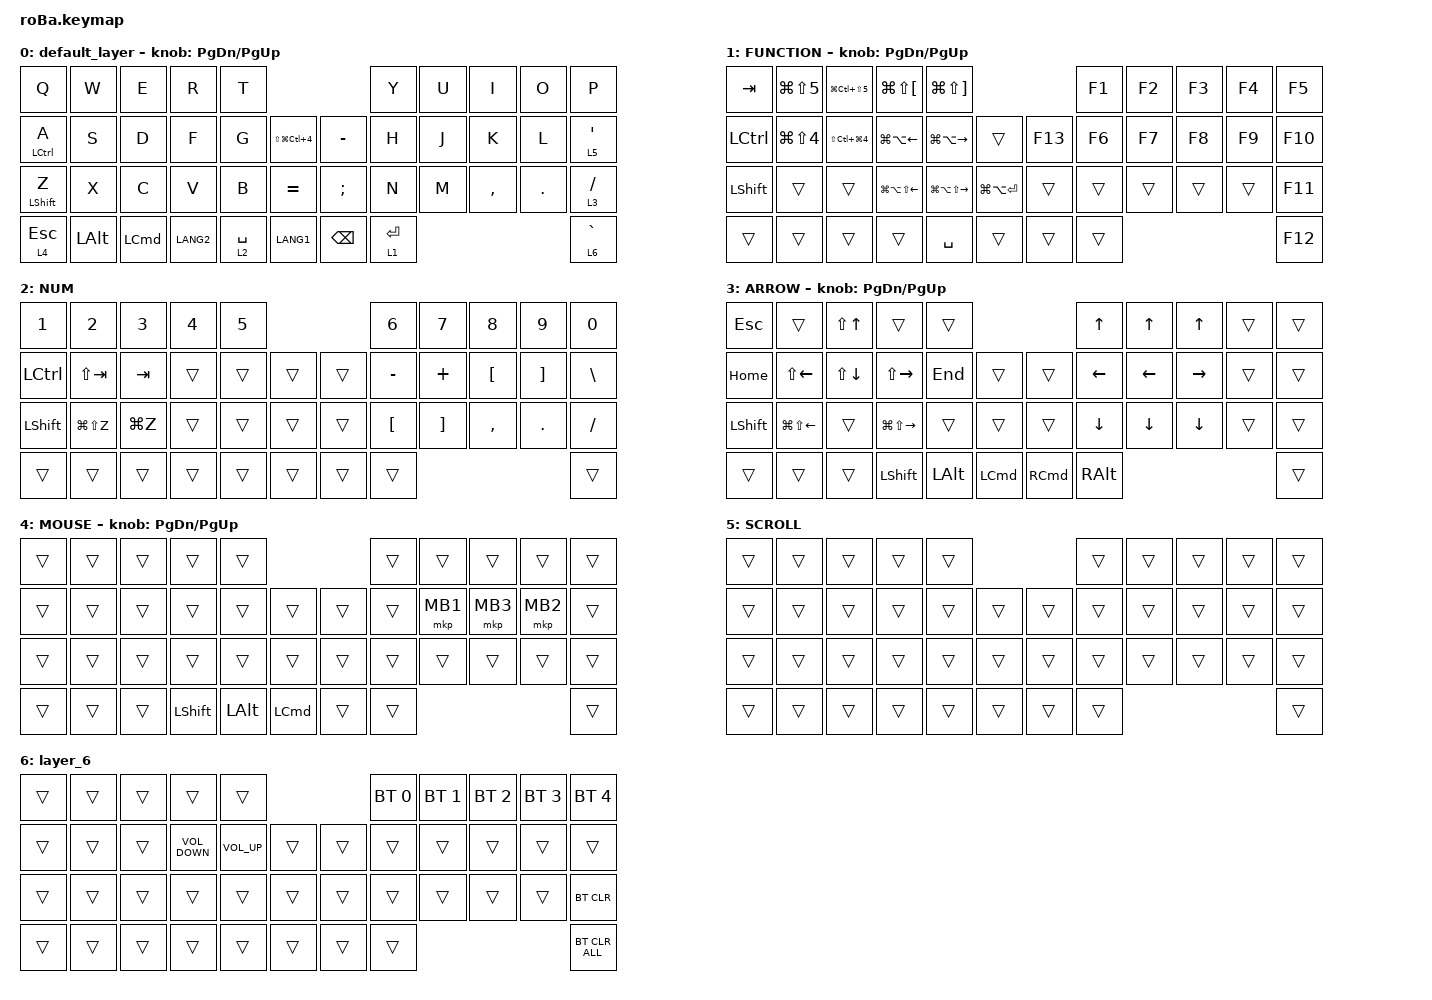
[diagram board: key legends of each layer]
#include <behaviors.dtsi>
#include <dt-bindings/zmk/bt.h>
#include <dt-bindings/zmk/keys.h>
#include <dt-bindings/zmk/pointing.h>

&mt {
    flavor = "balanced";
    quick-tap-ms = <0>;
};

/ {
    combos { compatible = "zmk,combos"; };

    macros {
        to_layer_0: to_layer_0 {
            compatible = "zmk,behavior-macro-one-param";
            #binding-cells = <1>;
            bindings = <&to 0 &macro_param_1to1 &kp MACRO_PLACEHOLDER>;
            label = "TO_LAYER_0";
        };
    };

    behaviors {
        lt_to_layer_0: lt_to_layer_0 {
            compatible = "zmk,behavior-hold-tap";
            label = "LAYER_TAP_TO_0";
            bindings = <&mo>, <&to_layer_0>;

            #binding-cells = <2>;
            tapping-term-ms = <200>;
        };
    };

    keymap {
        compatible = "zmk,keymap";

        default_layer {
            bindings = <
&kp Q               &kp W         &kp E             &kp R      &kp T                                               &kp Y        &kp U  &kp I      &kp O    &kp P
&mt LEFT_CONTROL A  &kp S         &kp D             &kp F      &kp G        &kp LS(LG(LC(N4)))      &kp MINUS      &kp H        &kp J  &kp K      &kp L    &lt 5 SQT
&mt LEFT_SHIFT Z    &kp X         &kp C             &kp V      &kp B        &kp EQUAL               &kp SEMICOLON  &kp N        &kp M  &kp COMMA  &kp DOT  &lt 3 SLASH
&lt 4 ESCAPE        &kp LEFT_ALT  &kp LEFT_COMMAND  &kp LANG2  &lt 2 SPACE  &kp LANG1               &kp BACKSPACE  &lt 1 ENTER                             &lt 6 GRAVE
            >;

            sensor-bindings = <&inc_dec_kp PAGE_DOWN PAGE_UP>;
        };

        FUNCTION {
            bindings = <
&kp TAB           &kp LG(LS(N5))        &kp LG(LC(LS(N5)))        &kp LG(LS(LEFT_BRACKET))    &kp LG(LS(RIGHT_BRACKET))                                    &kp F1  &kp F2  &kp F3  &kp F4  &kp F5
&kp LEFT_CONTROL  &kp LG(LS(NUMBER_4))  &kp LS(LC(LG(NUMBER_4)))  &kp LG(LA(LEFT_ARROW))      &kp LG(LA(RIGHT_ARROW))      &trans                 &kp F13  &kp F6  &kp F7  &kp F8  &kp F9  &kp F10
&kp LEFT_SHIFT    &trans                &trans                    &kp LG(LA(LS(LEFT_ARROW)))  &kp LG(LA(LS(RIGHT_ARROW)))  &kp LG(LA(ENTER))      &trans   &trans  &trans  &trans  &trans  &kp F11
&trans            &trans                &trans                    &trans                      &kp SPACE                    &trans                 &trans   &trans                          &kp F12
            >;

            sensor-bindings = <&inc_dec_kp PAGE_DOWN PAGE_UP>;
        };

        NUM {
            bindings = <
&kp N1            &kp NUMBER_2   &kp NUMBER_3  &kp NUMBER_4  &kp N5                      &kp NUMBER_6      &kp N7             &kp N8            &kp N9             &kp N0
&kp LEFT_CONTROL  &kp LS(TAB)    &kp TAB       &trans        &trans  &trans      &trans  &kp MINUS         &kp PLUS           &kp LEFT_BRACKET  &kp RIGHT_BRACKET  &kp BACKSLASH
&kp LEFT_SHIFT    &kp LG(LS(Z))  &kp LG(Z)     &trans        &trans  &trans      &trans  &kp LEFT_BRACKET  &kp RIGHT_BRACKET  &kp COMMA         &kp PERIOD         &kp SLASH
&trans            &trans         &trans        &trans        &trans  &trans      &trans  &trans                                                                    &trans
            >;
        };

        ARROW {
            bindings = <
&kp ESCAPE      &trans                  &kp LS(UP_ARROW)    &trans                   &trans                                                 &kp UP_ARROW    &kp UP_ARROW    &kp UP_ARROW     &trans  &trans
&kp HOME        &kp LS(LEFT_ARROW)      &kp LS(DOWN_ARROW)  &kp LS(RIGHT_ARROW)      &kp END       &trans                &trans             &kp LEFT_ARROW  &kp LEFT_ARROW  &kp RIGHT_ARROW  &trans  &trans
&kp LEFT_SHIFT  &kp LG(LS(LEFT_ARROW))  &trans              &kp LG(LS(RIGHT_ARROW))  &trans        &trans                &trans             &kp DOWN_ARROW  &kp DOWN_ARROW  &kp DOWN_ARROW   &trans  &trans
&trans          &trans                  &trans              &kp LEFT_SHIFT           &kp LEFT_ALT  &kp LEFT_COMMAND      &kp RIGHT_COMMAND  &kp RIGHT_ALT                                            &trans
            >;

            sensor-bindings = <&inc_dec_kp PAGE_DOWN PAGE_UP>;
        };

        MOUSE {
            bindings = <
&trans  &trans  &trans  &trans          &trans                                      &trans  &trans    &trans    &trans    &trans
&trans  &trans  &trans  &trans          &trans        &trans                &trans  &trans  &mkp MB1  &mkp MB3  &mkp MB2  &trans
&trans  &trans  &trans  &trans          &trans        &trans                &trans  &trans  &trans    &trans    &trans    &trans
&trans  &trans  &trans  &kp LEFT_SHIFT  &kp LEFT_ALT  &kp LEFT_COMMAND      &trans  &trans                                &trans
            >;

            sensor-bindings = <&inc_dec_kp PAGE_DOWN PAGE_UP>;
        };

        SCROLL {
            bindings = <
&trans  &trans  &trans  &trans  &trans                      &trans  &trans  &trans  &trans  &trans
&trans  &trans  &trans  &trans  &trans  &trans      &trans  &trans  &trans  &trans  &trans  &trans
&trans  &trans  &trans  &trans  &trans  &trans      &trans  &trans  &trans  &trans  &trans  &trans
&trans  &trans  &trans  &trans  &trans  &trans      &trans  &trans                          &trans
            >;
        };

        layer_6 {
            bindings = <
&trans  &trans  &trans  &trans             &trans                               &bt BT_SEL 0  &bt BT_SEL 1  &bt BT_SEL 2  &bt BT_SEL 3  &bt BT_SEL 4
&trans  &trans  &trans  &kp C_VOLUME_DOWN  &kp C_VOLUME_UP  &trans      &trans  &trans        &trans        &trans        &trans        &trans
&trans  &trans  &trans  &trans             &trans           &trans      &trans  &trans        &trans        &trans        &trans        &bt BT_CLR
&trans  &trans  &trans  &trans             &trans           &trans      &trans  &trans                                                  &bt BT_CLR_ALL
            >;
        };
    };
};
